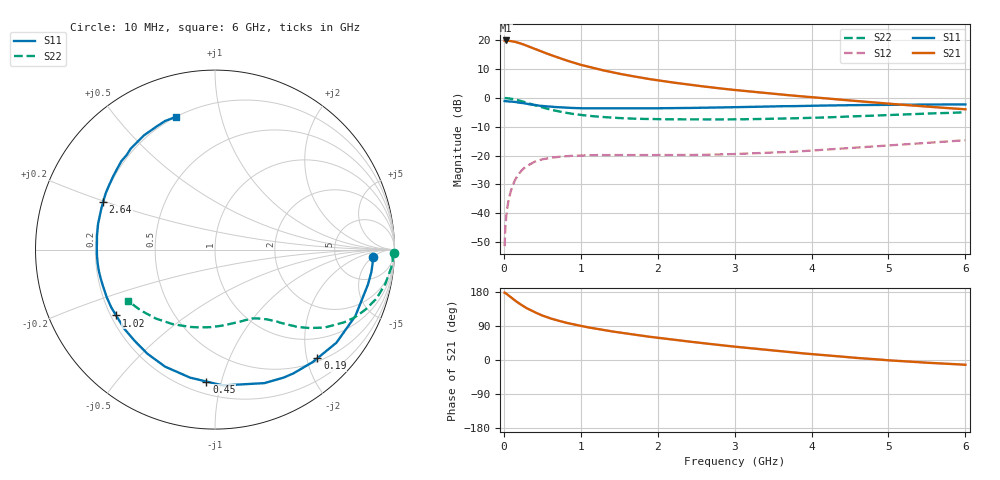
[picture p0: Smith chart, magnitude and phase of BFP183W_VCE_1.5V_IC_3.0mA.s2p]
! Infineon Technologies  Discrete & RF Semiconductors
! BFP183W
! VCE = 1.5 V,  IC =  3.0 mA
! Common Emitter S-Parameters:  Jan 2016
# GHz  S  MA  R  50
!  f  S11  S21  S12  S22
! GHz  MAG  ANG  MAG  ANG  MAG  ANG  MAG  ANG
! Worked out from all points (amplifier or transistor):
!   210 points, 10 MHz to 6 GHz, reference 50 ohm
!   highest |S21| = 19.9 dB at 30 MHz (marker M1)
!   |S21| within 3 dB of that: start of sweep to 411.7 MHz
!   unconditionally stable (mu >= 1): 2.075 GHz to end of sweep
!   at 185 MHz: K = 0.11, MSG = 22.9 dB, |S12| = -26.7 dB
!   at 1.52 GHz: K = 0.77, MSG = 14.1 dB, |S12| = -19.8 dB
!   at 6 GHz: K = 1.03, MAG = 4.3 dB, |S12| = -14.7 dB
!   S11 on the Smith chart (normalised r, x): 10 MHz: 14, -5; 190 MHz: 0.56, -2.20; 450 MHz: 0.28, -0.90; 1.02 GHz: 0.22, -0.29; 2.64 GHz: 0.20, +0.20; 6 GHz: 0.20, +0.73
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0.01  0.8825 -2.6  9.827 177.7  0.0027 85.0  0.9949 -1.2
0.02  0.8811 -5.3  9.878 176.9  0.0058 87.1  0.9893 -2.4
0.03  0.8803 -8.0  9.896 175.3  0.0084 87.7  0.992 -3.5
0.1  0.8652 -25.3  9.63 164.0  0.0266 76.2  0.9679 -11.4
0.15  0.8525 -37.5  9.353 156.2  0.0388 69.1  0.9407 -16.8
0.19  0.8319 -46.7  8.997 150.4  0.0473 64.5  0.9112 -20.5
0.24  0.8165 -57.6  8.576 144.0  0.0568 59.0  0.8732 -25.0
0.3  0.7932 -69.7  8.003 136.4  0.0662 53.2  0.8242 -29.5
0.4  0.758 -86.7  7.109 126.1  0.0782 45.2  0.7485 -35.5
0.45  0.7366 -93.7  6.681 122.0  0.0822 41.9  0.7159 -37.5
0.5  0.7267 -101.0  6.293 117.3  0.0865 39.0  0.6842 -39.7
0.6  0.7089 -113.1  5.596 110.2  0.0913 34.2  0.6302 -43.1
0.7  0.6918 -122.9  5.03 104.2  0.0951 30.5  0.5884 -45.5
0.82  0.675 -133.0  4.433 97.9  0.098 27.1  0.549 -48.0
1.02  0.6614 -146.3  3.688 89.2  0.1007 23.0  0.5035 -51.5
1.4  0.6569 -165.1  2.795 75.6  0.1025 18.7  0.4579 -57.1
2.02  0.662 173.1  1.999 58.2  0.1022 18.2  0.4275 -66.9
2.64  0.6777 157.0  1.554 43.3  0.1035 21.0  0.4225 -78.2
3.1  0.6942 146.5  1.332 33.2  0.1077 23.9  0.4267 -87.4
4.1  0.7351 128.2  1.004 13.9  0.1249 29.7  0.4555 -110.1
5.1  0.76 115.0  0.776 -2.0  0.1529 31.8  0.5108 -132.8
6  0.7709 106.3  0.635 -12.6  0.1848 30.8  0.5638 -149.7
